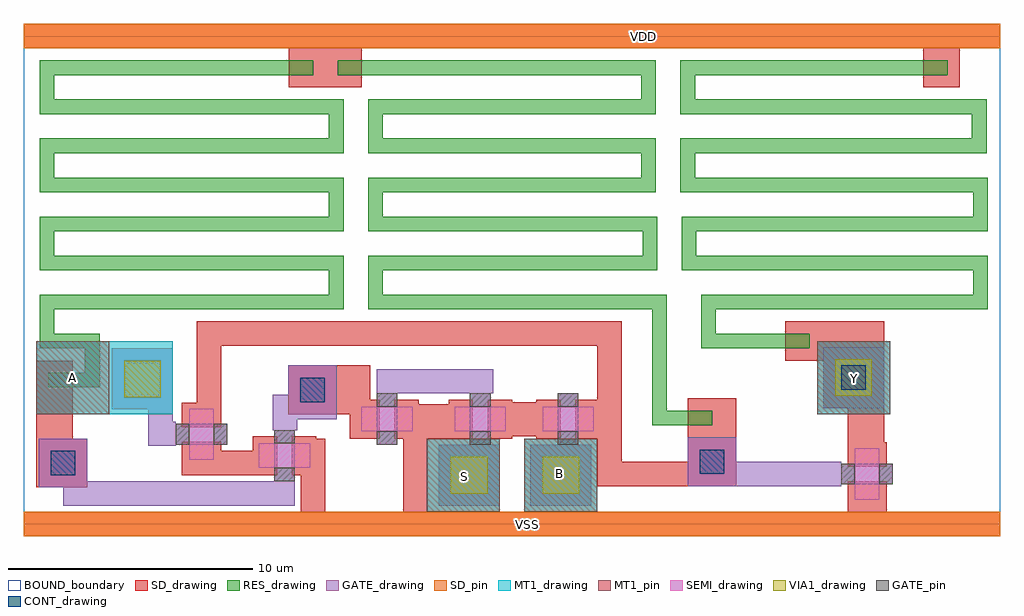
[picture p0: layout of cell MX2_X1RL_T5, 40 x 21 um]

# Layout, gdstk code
from math import pi, radians
import gdstk
lib = gdstk.Library(unit=1e-6, precision=1e-09)
def R(c, l, rs):  # rectangles x0, y0, x1, y1
    for r in rs: c.add(gdstk.rectangle(r[:2], r[2:], *l))
def P(c, l, *ps):  # polygons
    for p in ps: c.add(gdstk.Polygon(p, *l))
RES_drawing = (1, 0)
SEMI_drawing = (3, 0)
SD_drawing = (10, 0)
SD_pin = (10, 3)
GATE_drawing = (11, 0)
GATE_pin = (11, 3)
MT1_drawing = (20, 0)
MT1_pin = (20, 3)
CONT_drawing = (30, 0)
VIA1_drawing = (41, 0)
BOUND_boundary = (150, 5)

nch_cdns_772544961330 = lib.new_cell('nch_CDNS_772544961330')
R(nch_cdns_772544961330, SEMI_drawing, [(-1.05,-0.5,1.05,0.5)])
R(nch_cdns_772544961330, SD_drawing, [(-1.3,-0.8,-0.3,0.8), (0.3,-0.8,1.3,0.8)])
R(nch_cdns_772544961330, GATE_drawing, [(-0.425,-1.05,0.425,1.05)])
R(nch_cdns_772544961330, GATE_pin, [(-0.425,-1.05,0.425,-0.5), (-0.425,0.5,0.425,1.05)])

sd_gate_cdns_77254496133 = lib.new_cell('SD_GATE_CDNS_772544961330')
R(sd_gate_cdns_77254496133, SD_drawing, [(-1,-1,1,1)])
R(sd_gate_cdns_77254496133, GATE_drawing, [(-1,-1,1,1)])
R(sd_gate_cdns_77254496133, CONT_drawing, [(-0.5,-0.5,0.5,0.5)])

gate_mt1_cdns_7725449613 = lib.new_cell('GATE_MT1_CDNS_772544961331')
R(gate_mt1_cdns_7725449613, GATE_drawing, [(-1.25,-1.25,1.25,1.25)])
R(gate_mt1_cdns_7725449613, MT1_drawing, [(-1.25,-1.25,1.25,1.25)])
R(gate_mt1_cdns_7725449613, VIA1_drawing, [(-0.75,-0.75,0.75,0.75)])

gate_mt1_stack_cdns_7725 = lib.new_cell('GATE_MT1_STACK_CDNS_772544961332')
R(gate_mt1_stack_cdns_7725, GATE_drawing, [(-1.25,-1.25,1.25,1.25)])
R(gate_mt1_stack_cdns_7725, MT1_drawing, [(-1.25,-1.25,1.25,1.25)])
R(gate_mt1_stack_cdns_7725, VIA1_drawing, [(-0.75,-0.75,0.75,0.75)])

mx2_x1rl_t5 = lib.new_cell('MX2_X1RL_T5')
R(mx2_x1rl_t5, SD_drawing, [(0.5,1.5,2,6.7), (33.75,3.35,35.25,4.75), (27.2,3.45,29.2,5.15), (32.75,4.75,35.25,7.25), (31.2,6.7,35.25,8.3), (10.85,17.9,13.85,19.5), (36.85,17.9,38.35,19.5)])
P(mx2_x1rl_t5, SD_drawing, [(14.2,6.5),(12.825,6.5),(12.825,4.5),(13.35,4.5),(13.35,3.5),(14.2,3.5)])
R(mx2_x1rl_t5, SD_pin, [(0,-0.5,40,0.5), (0,19.5,40,20.5)])
R(mx2_x1rl_t5, GATE_drawing, [(10.3,1.75,11.05,1.8), (17,3.15,19.15,3.25)])
P(mx2_x1rl_t5, GATE_drawing, [(6.125,4.2),(6.125,3.2),(6.225,3.2),(6.225,3.3),(6.275,3.3),(6.275,4.05),(6.225,4.05),(6.225,4.2)],
  [(18.175,3.15),(19.175,3.15),(19.175,3.25),(19.075,3.25),(19.075,3.3),(18.325,3.3),(18.325,3.25),(18.175,3.25)],
  [(33.4,2.55),(33.4,1.55),(33.5,1.55),(33.5,1.675),(33.55,1.675),(33.55,2.425),(33.5,2.425),(33.5,2.55)],
  [(19.225,5.45),(18.225,5.45),(18.225,5.35),(18.325,5.35),(18.325,5.3),(19.075,5.3),(19.075,5.35),(19.225,5.35)],
  [(21.775,3.15),(22.775,3.15),(22.775,3.25),(22.675,3.25),(22.675,3.3),(21.925,3.3),(21.925,3.25),(21.775,3.25)],
  [(15.5,5.45),(14.45,5.45),(14.45,5.35),(14.475,5.35),(14.475,5.3),(15.225,5.3),(15.225,5.35),(15.5,5.35)],
  [(11.2,3.95),(10.2,3.95),(10.2,3.85),(10.3,3.85),(10.3,3.8),(11.05,3.8),(11.05,3.85),(11.2,3.85)])
R(mx2_x1rl_t5, MT1_drawing, [(16.5,0.5,19.5,3.5), (20.5,0.5,23.5,3.5), (0.5,4.5,6.1,7.5), (32.5,4.5,35.5,7.5)])
R(mx2_x1rl_t5, MT1_pin, [(16.5,0.5,19.5,3.5), (20.5,0.5,23.5,3.5), (0.5,4.5,3.5,7.5), (32.5,4.5,35.5,7.5)])
R(mx2_x1rl_t5, BOUND_boundary, [(0,0,40,20)])
mx2_x1rl_t5.add(gdstk.FlexPath([(1,5.9),(2.8,5.9),(2.8,7.5),(0.95,7.5),(0.95,9.1),(12.8,9.1),(12.8,10.7),(0.95,10.7),(0.95,12.3),(12.8,12.3),(12.8,13.9),(0.95,13.9),(0.95,15.5),(12.8,15.5),(12.8,17.1),(0.95,17.1),(0.95,18.7),(11.85,18.7)], 0.6, ends="flush", simple_path=True, layer=1, datatype=0))  # RES_drawing
mx2_x1rl_t5.add(gdstk.FlexPath([(28.2,4.35),(26.05,4.35),(26.05,9.1),(14.4,9.1),(14.4,10.7),(25.65,10.7),(25.65,12.3),(14.4,12.3),(14.4,13.9),(25.6,13.9),(25.6,15.5),(14.4,15.5),(14.4,17.1),(25.6,17.1),(25.6,18.7),(12.85,18.7)], 0.6, ends="flush", simple_path=True, layer=1, datatype=0))  # RES_drawing
mx2_x1rl_t5.add(gdstk.FlexPath([(37.85,18.7),(27.2,18.7),(27.2,17.1),(39.15,17.1),(39.15,15.5),(27.2,15.5),(27.2,13.9),(39.2,13.9),(39.2,12.3),(27.25,12.3),(27.25,10.7),(39.2,10.7),(39.2,9.1),(28.05,9.1),(28.05,7.5),(32.2,7.5)], 0.6, ends="flush", simple_path=True, layer=1, datatype=0))  # RES_drawing
mx2_x1rl_t5.add(gdstk.FlexPath([(24,7.8),(24,2.05)], 1, ends="extended", simple_path=True, layer=10, datatype=0))  # SD_drawing
mx2_x1rl_t5.add(gdstk.FlexPath([(24,2.05),(27.95,2.05)], 1, ends=(0.5, 0), simple_path=True, layer=10, datatype=0))  # SD_drawing
mx2_x1rl_t5.add(gdstk.FlexPath([(34.55,0),(40,0)], 1, ends=(0.8, 0), simple_path=True, layer=10, datatype=0))  # SD_drawing
mx2_x1rl_t5.add(gdstk.FlexPath([(11.85,0),(16.05,0)], 1, ends="extended", simple_path=True, layer=10, datatype=0))  # SD_drawing
mx2_x1rl_t5.add(gdstk.FlexPath([(34.55,0.75),(34.55,0)], 1.6, ends=(0, 0.5), simple_path=True, layer=10, datatype=0))  # SD_drawing
mx2_x1rl_t5.add(gdstk.FlexPath([(34.55,0),(34.55,-0.5)], 1.6, ends=(0.5, 0), simple_path=True, layer=10, datatype=0))  # SD_drawing
mx2_x1rl_t5.add(gdstk.FlexPath([(27.85,2.85),(27.85,2.5)], 1.3, ends=(0.7, 0.65), simple_path=True, layer=10, datatype=0))  # SD_drawing
mx2_x1rl_t5.add(gdstk.FlexPath([(6.475,2.5),(9.375,2.5)], 1, ends="flush", simple_path=True, layer=10, datatype=0))  # SD_drawing
mx2_x1rl_t5.add(gdstk.FlexPath([(16.05,0),(34.55,0)], 1, ends=(0.5, 0.8), simple_path=True, layer=10, datatype=0))  # SD_drawing
mx2_x1rl_t5.add(gdstk.FlexPath([(7.575,7.8),(24,7.8)], 1, ends="extended", simple_path=True, layer=10, datatype=0))  # SD_drawing
mx2_x1rl_t5.add(gdstk.FlexPath([(11.85,3.5),(11.85,0)], 1, ends=(0, 0.5), simple_path=True, layer=10, datatype=0))  # SD_drawing
mx2_x1rl_t5.add(gdstk.FlexPath([(7.575,4.975),(7.575,7.8)], 1, ends=(0, 0.5), simple_path=True, layer=10, datatype=0))  # SD_drawing
mx2_x1rl_t5.add(gdstk.FlexPath([(21,4.3),(20,4.3)], 1.4, ends="flush", simple_path=True, layer=10, datatype=0))  # SD_drawing
mx2_x1rl_t5.add(gdstk.FlexPath([(16.05,0),(16.05,2.8)], 1, ends=(0.5, 0.7), simple_path=True, layer=10, datatype=0))  # SD_drawing
mx2_x1rl_t5.add(gdstk.FlexPath([(16.175,4.2),(17.4,4.2)], 1.4, ends="flush", simple_path=True, layer=10, datatype=0))  # SD_drawing
mx2_x1rl_t5.add(gdstk.FlexPath([(0,20),(40,20)], 1, ends="flush", simple_path=True, layer=10, datatype=0))  # SD_drawing
mx2_x1rl_t5.add(gdstk.FlexPath([(0,0),(11.85,0)], 1, ends=(0, 0.5), simple_path=True, layer=10, datatype=0))  # SD_drawing
mx2_x1rl_t5.add(gdstk.FlexPath([(6.125,3.7),(5.6,3.7)], 1, ends=(0, 0.5), simple_path=True, layer=11, datatype=0))  # GATE_drawing
mx2_x1rl_t5.add(gdstk.FlexPath([(5.6,3.7),(5.6,7.2)], 1, ends=(0.5, 0), simple_path=True, layer=11, datatype=0))  # GATE_drawing
mx2_x1rl_t5.add(gdstk.FlexPath([(27.7,2.05),(33.4,2.05)], 1, ends=(0.5, 0), simple_path=True, layer=11, datatype=0))  # GATE_drawing
mx2_x1rl_t5.add(gdstk.FlexPath([(2.1,1.25),(2.1,2.75)], 1, ends=(0.5, 0), simple_path=True, layer=11, datatype=0))  # GATE_drawing
mx2_x1rl_t5.add(gdstk.FlexPath([(10.6,1.25),(2.1,1.25)], 1, ends="extended", simple_path=True, layer=11, datatype=0))  # GATE_drawing
mx2_x1rl_t5.add(gdstk.FlexPath([(10.6,1.75),(10.6,1.25)], 1, ends=(0, 0.5), simple_path=True, layer=11, datatype=0))  # GATE_drawing
mx2_x1rl_t5.add(gdstk.FlexPath([(10.7,4.8),(12.825,4.8)], 1, ends=(0.5, 0), simple_path=True, layer=11, datatype=0))  # GATE_drawing
mx2_x1rl_t5.add(gdstk.FlexPath([(10.7,3.85),(10.7,4.8)], 1, ends=(0, 0.5), simple_path=True, layer=11, datatype=0))  # GATE_drawing
mx2_x1rl_t5.add(gdstk.FlexPath([(18.725,5.85),(14.95,5.85)], 1, ends="extended", simple_path=True, layer=11, datatype=0))  # GATE_drawing
mx2_x1rl_t5.add(gdstk.FlexPath([(18.725,5.35),(18.725,5.85)], 1, ends=(0, 0.5), simple_path=True, layer=11, datatype=0))  # GATE_drawing
mx2_x1rl_t5.add(gdstk.Reference(nch_cdns_772544961330, (14.875,4.3), rotation=pi, x_reflection=True))
mx2_x1rl_t5.add(gdstk.Reference(nch_cdns_772544961330, (18.7,4.3)))
mx2_x1rl_t5.add(gdstk.Reference(nch_cdns_772544961330, (10.675,2.8), rotation=pi, x_reflection=True))
mx2_x1rl_t5.add(gdstk.Reference(nch_cdns_772544961330, (34.55,2.05), rotation=pi/2))
mx2_x1rl_t5.add(gdstk.Reference(nch_cdns_772544961330, (22.3,4.3)))
mx2_x1rl_t5.add(gdstk.Reference(nch_cdns_772544961330, (7.275,3.675), rotation=3*pi/2, x_reflection=True))
mx2_x1rl_t5.add(gdstk.Reference(sd_gate_cdns_77254496133, (34,6)))
mx2_x1rl_t5.add(gdstk.Reference(sd_gate_cdns_77254496133, (28.2,2.55)))
mx2_x1rl_t5.add(gdstk.Reference(sd_gate_cdns_77254496133, (1.6,2.5)))
mx2_x1rl_t5.add(gdstk.Reference(sd_gate_cdns_77254496133, (11.825,5.5)))
mx2_x1rl_t5.add(gdstk.Reference(gate_mt1_cdns_7725449613, (34,6)))
mx2_x1rl_t5.add(gdstk.Reference(gate_mt1_stack_cdns_7725, (18.25,2)))
mx2_x1rl_t5.add(gdstk.Reference(gate_mt1_stack_cdns_7725, (4.85,5.95)))
mx2_x1rl_t5.add(gdstk.Reference(gate_mt1_stack_cdns_7725, (22,2)))
mx2_x1rl_t5.add(gdstk.Label('Y', (34.05,5.95), layer=20, texttype=3))
mx2_x1rl_t5.add(gdstk.Label('B', (21.95,2.05), layer=20, texttype=3))
mx2_x1rl_t5.add(gdstk.Label('S', (18.05,1.95), layer=20, texttype=3))
mx2_x1rl_t5.add(gdstk.Label('A', (2,6), layer=20, texttype=3))
mx2_x1rl_t5.add(gdstk.Label('VSS', (20.65,0), layer=10, texttype=3))
mx2_x1rl_t5.add(gdstk.Label('VDD', (25.4,20), layer=10, texttype=3))

lib.write_gds('MX2_X1RL_T5.gds')
